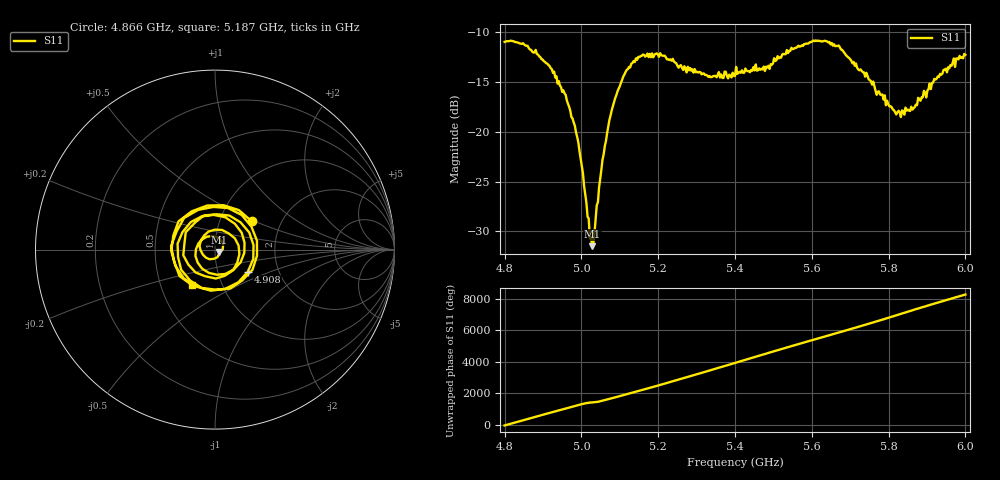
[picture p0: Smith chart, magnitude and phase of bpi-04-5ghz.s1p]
! NanoVNA-App
! Date: 2026-05-22 17:54:07
! Start: 4.8GHz Stop: 6GHz Points: 401
! S-Parameter data: F S11
# Hz S RI R 50
!  Frequency  S11_Real  S11_Imag
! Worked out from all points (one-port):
!   401 points, 4.8 GHz to 6 GHz, reference 50 ohm
!   lowest |S11| = -31.5 dB at 5.028 GHz (marker M1), VSWR 1.05, Z = 52.4 - j1.36 ohm
!   |S11| at or under -10 dB: start of sweep to end of sweep
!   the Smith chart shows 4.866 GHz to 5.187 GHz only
!   S11 on the Smith chart (normalised r, x): 4.866 GHz: 1.42, +0.48; 4.908 GHz: 1.39, -0.36; 5.187 GHz: 0.72, -0.30
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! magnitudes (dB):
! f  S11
! 4.8 GHz  -11.0
! 4.866 GHz  -11.8
! 4.908 GHz  -13.1
! 4.95 GHz  -16.0
! 4.965 GHz  -17.2
! 4.989 GHz  -20.5
! 4.998 GHz  -22.7
! 5.022 GHz  -30.7
! 5.028 GHz  -31.5
! 5.034 GHz  -30.2
! 5.052 GHz  -23.8
! 5.067 GHz  -20.1
! 5.082 GHz  -17.4
! 5.1 GHz  -15.4
! 5.136 GHz  -12.9
! 5.187 GHz  -12.5
! 5.25 GHz  -13.4
! 5.334 GHz  -14.4
! 5.4 GHz  -14.4
! 5.484 GHz  -13.6
! 5.55 GHz  -11.7
! 5.64 GHz  -11.0
! 5.7 GHz  -12.7
! 5.814 GHz  -17.9
! 5.85 GHz  -17.8
! 5.868 GHz  -17.5
! 5.94 GHz  -14.2
! 6 GHz  -12.3
